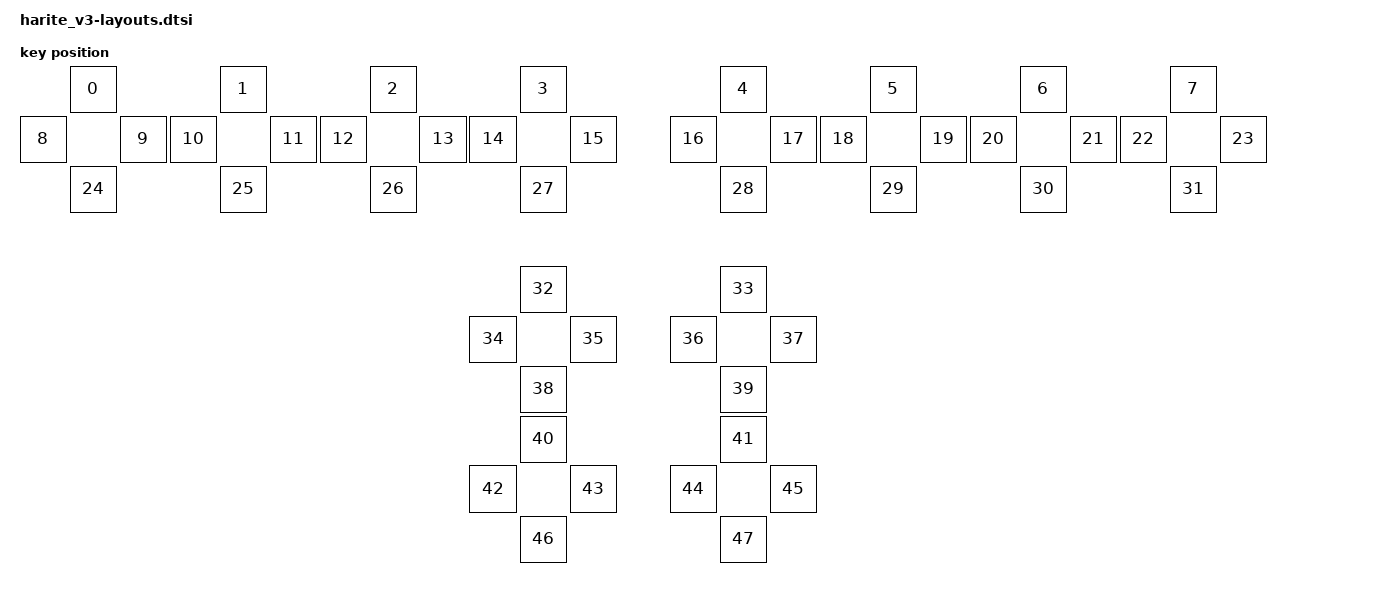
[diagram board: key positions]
#include <physical_layouts.dtsi>

/ {
    harite_v3_layout: harite_v3_layout {
        compatible = "zmk,physical-layout";
        display-name = "Harite v3";
        transform = <&default_transform>;
        kscan = <&kscan0>;
        keys  //                     w   h    x    y     rot    rx    ry
            = <&key_physical_attrs  100  100   100   0       0     0     0>
            , <&key_physical_attrs  100  100   400   0       0     0     0>
            , <&key_physical_attrs  100  100   700   0       0     0     0>
            , <&key_physical_attrs  100  100  1000   0       0     0     0>
            , <&key_physical_attrs  100  100  1400   0       0     0     0>
            , <&key_physical_attrs  100  100  1700   0       0     0     0>
            , <&key_physical_attrs  100  100  2000   0       0     0     0>
            , <&key_physical_attrs  100  100  2300   0       0     0     0>
            , <&key_physical_attrs  100  100   0   100       0     0     0>
            , <&key_physical_attrs  100  100   200   100       0     0     0>
            , <&key_physical_attrs  100  100   300   100       0     0     0>
            , <&key_physical_attrs  100  100   500   100       0     0     0>
            , <&key_physical_attrs  100  100   600   100       0     0     0>
            , <&key_physical_attrs  100  100   800   100       0     0     0>
            , <&key_physical_attrs  100  100   900   100       0     0     0>
            , <&key_physical_attrs  100  100  1100   100       0     0     0>
            , <&key_physical_attrs  100  100  1300   100       0     0     0>
            , <&key_physical_attrs  100  100  1500   100       0     0     0>
            , <&key_physical_attrs  100  100  1600   100       0     0     0>
            , <&key_physical_attrs  100  100  1800   100       0     0     0>
            , <&key_physical_attrs  100  100  1900   100       0     0     0>
            , <&key_physical_attrs  100  100  2100   100       0     0     0>
            , <&key_physical_attrs  100  100  2200   100       0     0     0>
            , <&key_physical_attrs  100  100  2400   100       0     0     0>
            , <&key_physical_attrs  100  100   100   200       0     0     0>
            , <&key_physical_attrs  100  100   400   200       0     0     0>
            , <&key_physical_attrs  100  100   700   200       0     0     0>
            , <&key_physical_attrs  100  100  1000   200       0     0     0>
            , <&key_physical_attrs  100  100  1400   200       0     0     0>
            , <&key_physical_attrs  100  100  1700   200       0     0     0>
            , <&key_physical_attrs  100  100  2000   200       0     0     0>
            , <&key_physical_attrs  100  100  2300   200       0     0     0>
            , <&key_physical_attrs  100  100  1000   400       0     0     0>
            , <&key_physical_attrs  100  100  1400   400       0     0     0>
            , <&key_physical_attrs  100  100   900   500       0     0     0>
            , <&key_physical_attrs  100  100  1100   500       0     0     0>
            , <&key_physical_attrs  100  100  1300   500       0     0     0>
            , <&key_physical_attrs  100  100  1500   500       0     0     0>
            , <&key_physical_attrs  100  100  1000   600       0     0     0>
            , <&key_physical_attrs  100  100  1400   600       0     0     0>
            , <&key_physical_attrs  100  100  1000   700       0     0     0>
            , <&key_physical_attrs  100  100  1400   700       0     0     0>
            , <&key_physical_attrs  100  100   900   800       0     0     0>
            , <&key_physical_attrs  100  100  1100   800       0     0     0>
            , <&key_physical_attrs  100  100  1300   800       0     0     0>
            , <&key_physical_attrs  100  100  1500   800       0     0     0>
            , <&key_physical_attrs  100  100  1000   900       0     0     0>
            , <&key_physical_attrs  100  100  1400   900       0     0     0>
            ;
    };
};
